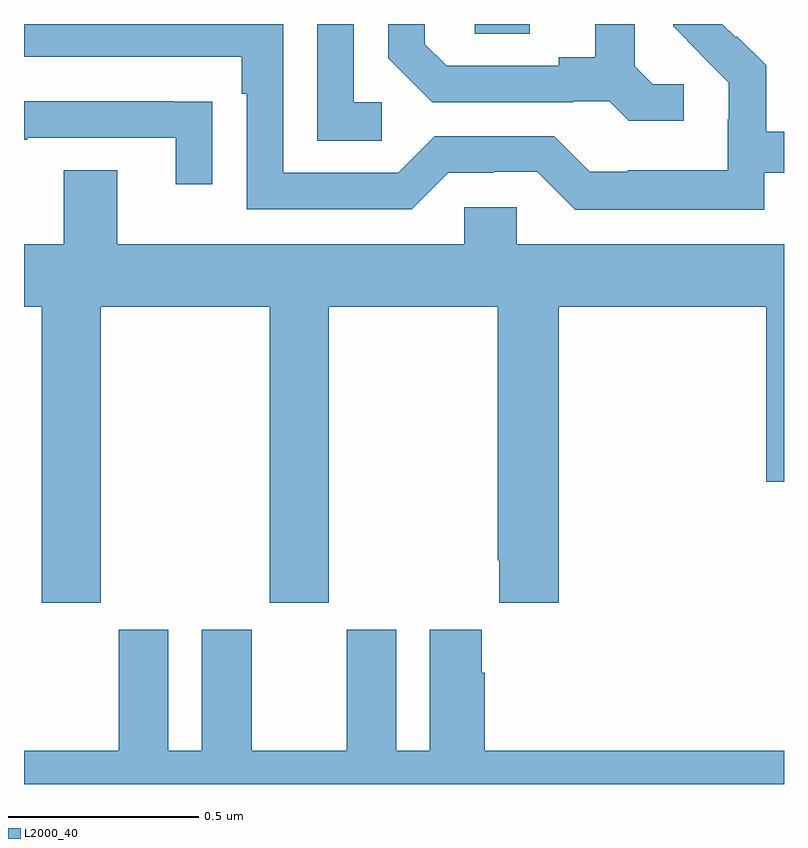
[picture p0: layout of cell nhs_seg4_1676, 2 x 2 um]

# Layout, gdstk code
import gdstk
lib = gdstk.Library(unit=1e-6, precision=1e-09)
def R(c, l, rs):  # rectangles x0, y0, x1, y1
    for r in rs: c.add(gdstk.rectangle(r[:2], r[2:], *l))
def P(c, l, *ps):  # polygons
    for p in ps: c.add(gdstk.Polygon(p, *l))
L2000_40 = (2000, 40)

nhs_seg4_1676 = lib.new_cell('nhs_seg4_1676')
R(nhs_seg4_1676, L2000_40, [(132.186,794.875,132.331,794.9)])
P(nhs_seg4_1676, L2000_40, [(132.948,794.508),(133,794.508),(133,794.617),(132.953,794.617),(132.953,794.791),(132.876,794.868),(132.873,794.865),(132.838,794.9),(132.708,794.9),(132.708,794.894),(132.781,794.821),(132.78,794.82),(132.854,794.746),(132.854,794.649),(132.852,794.649),(132.852,794.515),(132.589,794.515),(132.589,794.511),(132.489,794.511),(132.396,794.604),(132.081,794.604),(131.985,794.508),(131.682,794.508),(131.682,794.9),(131,794.9),(131,794.814),(131.573,794.814),(131.573,794.717),(131.586,794.717),(131.586,794.412),(132.021,794.412),(132.117,794.508),(132.236,794.508),(132.236,794.511),(132.351,794.511),(132.451,794.411),(132.948,794.411)],
  [(132.736,794.742),(132.654,794.742),(132.607,794.789),(132.607,794.9),(132.503,794.9),(132.503,794.813),(132.407,794.813),(132.407,794.79),(132.112,794.79),(132.055,794.847),(132.055,794.9),(131.958,794.9),(131.958,794.81),(132.074,794.694),(132.446,794.694),(132.446,794.697),(132.54,794.697),(132.592,794.645),(132.736,794.645)],
  [(131.941,794.694),(131.868,794.694),(131.868,794.9),(131.772,794.9),(131.772,794.593),(131.941,794.593)],
  [(131.495,794.696),(131.393,794.696),(131.393,794.697),(131,794.697),(131,794.596),(131.009,794.596),(131.009,794.601),(131.399,794.601),(131.399,794.478),(131.495,794.478)],
  [(131.202,794.156),(131.647,794.156),(131.647,793.377),(131.802,793.377),(131.802,794.156),(132.247,794.156),(132.247,793.489),(132.251,793.489),(132.251,793.377),(132.407,793.377),(132.407,794.156),(132.953,794.156),(132.953,793.695),(133,793.695),(133,794.32),(132.297,794.32),(132.297,794.418),(132.159,794.418),(132.159,794.32),(131.245,794.32),(131.245,794.515),(131.105,794.515),(131.105,794.32),(131,794.32),(131,794.156),(131.047,794.156),(131.047,793.377),(131.202,793.377)],
  [(133,792.988),(132.212,792.988),(132.212,793.193),(132.205,793.193),(132.205,793.306),(132.068,793.306),(132.068,792.988),(131.98,792.988),(131.98,793.306),(131.849,793.306),(131.849,792.988),(131.599,792.988),(131.599,793.306),(131.468,793.306),(131.468,792.988),(131.38,792.988),(131.38,793.306),(131.249,793.306),(131.249,792.988),(131,792.988),(131,792.9),(133,792.9)])

lib.write_gds('nhs_seg4_1676.gds')
